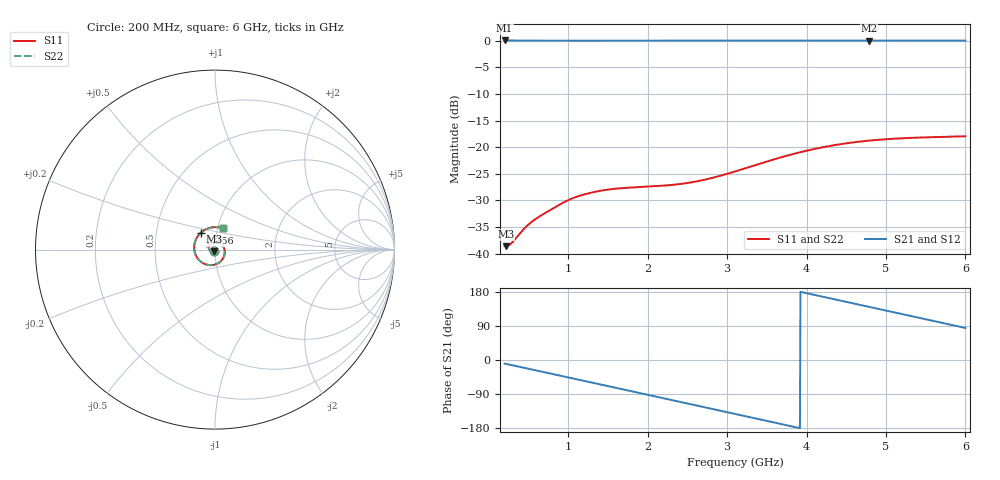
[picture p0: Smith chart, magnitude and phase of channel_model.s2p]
! Touchstone file converted from gerber2ems Port_0_data.csv
! Assumption: Channel is reciprocal and symmetric (S11=S22, S21=S12)
# GHz S MA R 50.0
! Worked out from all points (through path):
!   1001 points, 200 MHz to 6 GHz, reference 50 ohm
!   highest |S21| = 0.04 dB at 200 MHz (marker M1); lowest = 0.0 dB at 4.788 GHz (marker M2)
!   group delay of S21, straight-line fit = 127 ps
!   lowest |S11| = -38.6 dB at 217.4 MHz (marker M3), VSWR 1.02, Z = 49.3 - j0.947 ohm
!   |S11| at or under -10 dB: start of sweep to end of sweep
!   |S22| runs from -38.6 to -17.9 dB; largest |S21 - S12| = 0
!   S11 on the Smith chart (normalised r, x): 200 MHz: 0.99, -0.02; 5.356 GHz: 0.84, +0.16; 6 GHz: 1.06, +0.26
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0.2  0.01183 -124.1  1.005 -9.5  1.005 -9.5  0.01183 -124.1
0.2174  0.01176 -125.3  1.005 -10.3  1.005 -10.3  0.01176 -125.3
0.2812  0.01244 -129.5  1.005 -13.1  1.005 -13.1  0.01244 -129.5
0.5944  0.02127 -157.2  1.001 -27.3  1.001 -27.3  0.02127 -157.2
0.8612  0.02804 -172.5  1.001 -39.5  1.001 -39.5  0.02804 -172.5
1.1686  0.03542 167.6  0.9998 -53.6  0.9998 -53.6  0.03542 167.6
1.418  0.0391 149.2  1 -65.1  1 -65.1  0.0391 149.2
1.6616  0.04116 128.8  1 -76.2  1 -76.2  0.04116 128.8
1.8936  0.04221 107.3  1.001 -86.9  1.001 -86.9  0.04221 107.3
2.1372  0.04323 82.4  1.001 -98.1  1.001 -98.1  0.04323 82.4
2.607  0.04757 29.7  1.001 -119.6  1.001 -119.6  0.04757 29.7
3.1  0.05911 -25.6  1.001 -142.3  1.001 -142.3  0.05911 -25.6
3.3494  0.06761 -51.4  1.001 -153.8  1.001 -153.8  0.06761 -51.4
3.593  0.0769 -75.0  1.001 -164.9  1.001 -164.9  0.0769 -75.0
3.8308  0.08622 -96.8  1.001 -175.9  1.001 -175.9  0.08622 -96.8
4.0686  0.09516 -117.7  1 173.2  1 173.2  0.09516 -117.7
4.4224  0.1066 -148.0  1 157.0  1 157.0  0.1066 -148.0
4.7878  0.1153 -179.2  0.9998 140.2  0.9998 140.2  0.1153 -179.2
5.0372  0.1193 159.0  1 128.8  1 128.8  0.1193 159.0
5.3562  0.1226 130.4  1 114.2  1 114.2  0.1226 130.4
5.6752  0.1246 100.7  1.001 99.6  1.001 99.6  0.1246 100.7
6  0.1266 69.0  1.002 84.6  1.002 84.6  0.1266 69.0
